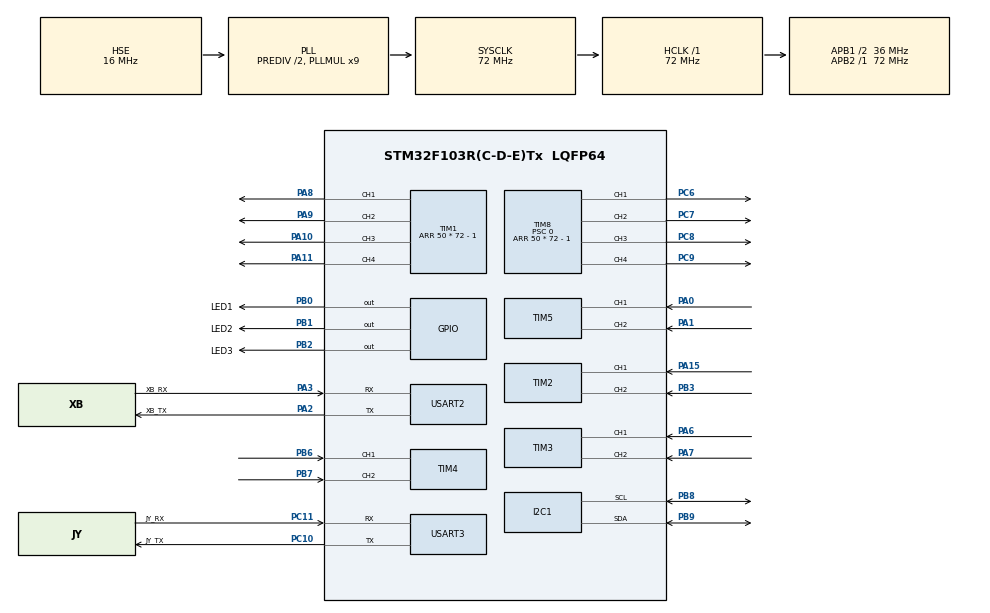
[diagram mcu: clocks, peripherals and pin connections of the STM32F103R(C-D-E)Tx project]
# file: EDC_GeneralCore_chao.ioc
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Dma.Request0=USART2_RX
Dma.Request1=USART3_RX
Dma.USART2_RX.0.Direction=DMA_PERIPH_TO_MEMORY
Dma.USART2_RX.0.Instance=DMA1_Channel6
Dma.USART2_RX.0.MemDataAlignment=DMA_MDATAALIGN_BYTE
Dma.USART2_RX.0.MemInc=DMA_MINC_ENABLE
Dma.USART2_RX.0.Mode=DMA_NORMAL
Dma.USART2_RX.0.PeriphDataAlignment=DMA_PDATAALIGN_BYTE
Dma.USART2_RX.0.PeriphInc=DMA_PINC_DISABLE
Dma.USART2_RX.0.Priority=DMA_PRIORITY_LOW
Dma.USART3_RX.1.Direction=DMA_PERIPH_TO_MEMORY
Dma.USART3_RX.1.Instance=DMA1_Channel3
Dma.USART3_RX.1.MemDataAlignment=DMA_MDATAALIGN_BYTE
Dma.USART3_RX.1.MemInc=DMA_MINC_ENABLE
Dma.USART3_RX.1.Mode=DMA_NORMAL
Dma.USART3_RX.1.PeriphDataAlignment=DMA_PDATAALIGN_BYTE
Dma.USART3_RX.1.PeriphInc=DMA_PINC_DISABLE
Dma.USART3_RX.1.Priority=DMA_PRIORITY_LOW
Mcu.Family=STM32F1
Mcu.Name=STM32F103R(C-D-E)Tx
Mcu.Package=LQFP64
NVIC.DMA1_Channel3_IRQn=true\:2\:0\:true\:false\:true\:false\:true\:true
NVIC.DMA1_Channel6_IRQn=true\:2\:0\:true\:false\:true\:false\:true\:true
NVIC.PriorityGroup=NVIC_PRIORITYGROUP_4
NVIC.TIM6_IRQn=true\:1\:0\:true\:false\:true\:true\:true\:true
PA0-WKUP.Signal=S_TIM5_CH1
PA1.Signal=S_TIM5_CH2
PA10.Signal=S_TIM1_CH3
PA11.Signal=S_TIM1_CH4
PA13.Mode=Serial_Wire
PA13.Signal=SYS_JTMS-SWDIO
PA14.Mode=Serial_Wire
PA14.Signal=SYS_JTCK-SWCLK
PA15.Signal=S_TIM2_CH1_ETR
PA2.GPIO_Label=XB_TX
PA2.Mode=Asynchronous
PA2.Signal=USART2_TX
PA3.GPIO_Label=XB_RX
PA3.Mode=Asynchronous
PA3.Signal=USART2_RX
PA6.Signal=S_TIM3_CH1
PA7.Signal=S_TIM3_CH2
PA8.Signal=S_TIM1_CH1
PA9.Signal=S_TIM1_CH2
PB0.GPIO_Label=LED1
PB0.Signal=GPIO_Output
PB1.GPIO_Label=LED2
PB1.Signal=GPIO_Output
PB2.GPIO_Label=LED3
PB2.Signal=GPIO_Output
PB3.Signal=S_TIM2_CH2
PB6.Signal=S_TIM4_CH1
PB7.Signal=S_TIM4_CH2
PB8.Mode=I2C
PB8.Signal=I2C1_SCL
PB9.Mode=I2C
PB9.Signal=I2C1_SDA
PC10.GPIO_Label=JY_TX
PC10.Mode=Asynchronous
PC10.Signal=USART3_TX
PC11.GPIO_Label=JY_RX
PC11.Mode=Asynchronous
PC11.Signal=USART3_RX
PC6.Signal=S_TIM8_CH1
PC7.Signal=S_TIM8_CH2
PC8.Signal=S_TIM8_CH3
PC9.Signal=S_TIM8_CH4
PD0-OSC_IN.Mode=HSE-External-Oscillator
PD0-OSC_IN.Signal=RCC_OSC_IN
PD1-OSC_OUT.Mode=HSE-External-Oscillator
PD1-OSC_OUT.Signal=RCC_OSC_OUT
ProjectManager.HeapSize=0x200
ProjectManager.StackSize=0x400
ProjectManager.TargetToolchain=STM32CubeIDE
RCC.AHBFreq_Value=72000000
RCC.APB1CLKDivider=RCC_HCLK_DIV2
RCC.APB1Freq_Value=36000000
RCC.APB1TimFreq_Value=72000000
RCC.APB2Freq_Value=72000000
RCC.APB2TimFreq_Value=72000000
RCC.HCLKFreq_Value=72000000
RCC.HSEDivPLL=RCC_HSE_PREDIV_DIV2
RCC.HSE_VALUE=16000000
RCC.PLLMUL=RCC_PLL_MUL9
RCC.PLLSourceVirtual=RCC_PLLSOURCE_HSE
RCC.SYSCLKFreq_VALUE=72000000
RCC.SYSCLKSource=RCC_SYSCLKSOURCE_PLLCLK
RCC.USBFreq_Value=72000000
SH.S_TIM1_CH1.0=TIM1_CH1,PWM Generation1 CH1
SH.S_TIM1_CH2.0=TIM1_CH2,PWM Generation2 CH2
SH.S_TIM1_CH3.0=TIM1_CH3,PWM Generation3 CH3
SH.S_TIM1_CH4.0=TIM1_CH4,PWM Generation4 CH4
SH.S_TIM2_CH1_ETR.0=TIM2_CH1,Encoder_Interface
SH.S_TIM2_CH2.0=TIM2_CH2,Encoder_Interface
SH.S_TIM3_CH1.0=TIM3_CH1,Encoder_Interface
SH.S_TIM3_CH2.0=TIM3_CH2,Encoder_Interface
SH.S_TIM4_CH1.0=TIM4_CH1,Encoder_Interface
SH.S_TIM4_CH2.0=TIM4_CH2,Encoder_Interface
SH.S_TIM5_CH1.0=TIM5_CH1,Encoder_Interface
SH.S_TIM5_CH2.0=TIM5_CH2,Encoder_Interface
SH.S_TIM8_CH1.0=TIM8_CH1,PWM Generation1 CH1
SH.S_TIM8_CH2.0=TIM8_CH2,PWM Generation2 CH2
SH.S_TIM8_CH3.0=TIM8_CH3,PWM Generation3 CH3
SH.S_TIM8_CH4.0=TIM8_CH4,PWM Generation4 CH4
TIM1.Channel-PWM\ Generation1\ CH1=TIM_CHANNEL_1
TIM1.Channel-PWM\ Generation2\ CH2=TIM_CHANNEL_2
TIM1.Channel-PWM\ Generation3\ CH3=TIM_CHANNEL_3
TIM1.Channel-PWM\ Generation4\ CH4=TIM_CHANNEL_4
TIM1.Period=50 * 72 - 1
TIM2.EncoderMode=TIM_ENCODERMODE_TI12
TIM2.IC1Polarity=TIM_ICPOLARITY_RISING
TIM2.IC2Polarity=TIM_ICPOLARITY_FALLING
TIM3.EncoderMode=TIM_ENCODERMODE_TI12
TIM3.IC2Polarity=TIM_ICPOLARITY_FALLING
TIM4.EncoderMode=TIM_ENCODERMODE_TI12
TIM4.IC1Polarity=TIM_ICPOLARITY_RISING
TIM4.IC2Polarity=TIM_ICPOLARITY_RISING
TIM5.EncoderMode=TIM_ENCODERMODE_TI12
TIM5.IC1Polarity=TIM_ICPOLARITY_RISING
TIM5.IC2Polarity=TIM_ICPOLARITY_RISING
TIM6.Period=50000 - 1
TIM6.Prescaler=72 - 1
TIM8.Channel-PWM\ Generation1\ CH1=TIM_CHANNEL_1
TIM8.Channel-PWM\ Generation2\ CH2=TIM_CHANNEL_2
TIM8.Channel-PWM\ Generation3\ CH3=TIM_CHANNEL_3
TIM8.Channel-PWM\ Generation4\ CH4=TIM_CHANNEL_4
TIM8.Period=50 * 72 - 1
TIM8.Prescaler=0
USART2.VirtualMode=VM_ASYNC
USART3.VirtualMode=VM_ASYNC
VP_TIM1_VS_ClockSourceINT.Mode=Internal
VP_TIM6_VS_ClockSourceINT.Mode=Enable_Timer
VP_TIM8_VS_ClockSourceINT.Mode=Internal
board=custom

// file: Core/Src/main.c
/* USER CODE BEGIN Header */
/**
 ******************************************************************************
 * @file           : main.c
 * @brief          : Main program body
 ******************************************************************************
 * @attention
 *
 * Copyright (c) 2022 STMicroelectronics.
 * All rights reserved.
 *
 * This software is licensed under terms that can be found in the LICENSE file
 * in the root directory of this software component.
 * If no LICENSE file comes with this software, it is provided AS-IS.
 *
 ******************************************************************************
 */
/* USER CODE END Header */
#include "main.h"

/* USER CODE BEGIN Includes */
#include "collab_util.h"
/* USER CODE END Includes */

/* USER CODE BEGIN PM */

#define LED1_ON	HAL_GPIO_WritePin(LED1_GPIO_Port, LED1_Pin, 1)
#define LED1_OFF	HAL_GPIO_WritePin(LED1_GPIO_Port, LED1_Pin, 0)
#define LED1_TOGGLE	HAL_GPIO_TogglePin(LED1_GPIO_Port, LED1_Pin)
#define LED2_ON	HAL_GPIO_WritePin(LED2_GPIO_Port, LED2_Pin, 1)
#define LED2_OFF	HAL_GPIO_WritePin(LED2_GPIO_Port, LED2_Pin, 0)
#define LED2_TOGGLE	HAL_GPIO_TogglePin(LED2_GPIO_Port, LED2_Pin)
#define LED3_ON 	HAL_GPIO_WritePin(LED3_GPIO_Port, LED3_Pin, 1)
#define LED3_OFF	HAL_GPIO_WritePin(LED3_GPIO_Port, LED3_Pin, 0)
#define LED3_TOGGLE	HAL_GPIO_TogglePin(LED3_GPIO_Port, LED3_Pin)

#define LED1_BLINK(n) for(uint8_t i = 0; i < n; i++){LED1_ON; HAL_Delay(150); LED1_OFF; HAL_Delay(150);}

/* USER CODE END PM */

I2C_HandleTypeDef hi2c1;

TIM_HandleTypeDef htim1;
TIM_HandleTypeDef htim2;
TIM_HandleTypeDef htim3;
TIM_HandleTypeDef htim4;
TIM_HandleTypeDef htim5;
TIM_HandleTypeDef htim6;
TIM_HandleTypeDef htim8;

UART_HandleTypeDef huart2;
UART_HandleTypeDef huart3;
DMA_HandleTypeDef hdma_usart2_rx;
DMA_HandleTypeDef hdma_usart3_rx;

/* USER CODE BEGIN PV */

// instances
Motor_HandleTypeDef cmotor_lf, cmotor_rf, cmotor_lb, cmotor_rb;
JY62_HandleTypeDef himu;
XB_HandleTypeDef hxb;

// game information 1
uint8_t gameStage;		// 0: pre-match(standby); 1: first half; 2: second half
uint8_t gameStatus;			// 0: standby; 1: running
uint32_t gameStageTimeLimit;		// in ms
uint32_t gameStageTimeSinceStart;	// in ms
Rectangle obstacles[5];			// area that depletes charge faster
Coordinate allyBeacons[3];		// ally charging station coordinate
Coordinate oppoBeacons[3];		// opponent charging station coordinate

// game information 2
Order *delivering[5];		// package picked up but not yet delivered

// game information 3
Coordinate myCoord;			// precise coordinate returned by game master
fCoordinate estimatedCoord;	// coordinate calculated by Kalman Filter
double angleZ, omegaZ, accelY;		// turning speed and linear acceleration
float myScore;				// current score returned by Master
float myCharge;				// current charge returned by Master

// interchange information 1
uint32_t gameStageTimeLeft;		// in ms

/* USER CODE END PV */

void SystemClock_Config(void);
static void MX_GPIO_Init(void);
static void MX_DMA_Init(void);
static void MX_I2C1_Init(void);
static void MX_TIM1_Init(void);
static void MX_TIM2_Init(void);
static void MX_TIM3_Init(void);
static void MX_TIM4_Init(void);
static void MX_TIM5_Init(void);
static void MX_TIM8_Init(void);
static void MX_USART2_UART_Init(void);
static void MX_USART3_UART_Init(void);
static void MX_TIM6_Init(void);
/* USER CODE BEGIN PFP */
static void HUAN_MOTOR1_Init(void);
static void HUAN_MOTOR2_Init(void);
static void HUAN_MOTOR3_Init(void);
static void HUAN_MOTOR4_Init(void);
static void HUAN_IMU_Init(void);
static void HUAN_ZIGBEE_Init(void);

/* USER CODE END PFP */

int main(void)
{

  /* MCU Configuration--------------------------------------------------------*/

  /* Reset of all peripherals, Initializes the Flash interface and the Systick. */
  HAL_Init();

  /* Configure the system clock */
  SystemClock_Config();

  /* Initialize all configured peripherals */
  MX_GPIO_Init();
  MX_DMA_Init();
  MX_I2C1_Init();
  MX_TIM1_Init();
  MX_TIM2_Init();
  MX_TIM3_Init();
  MX_TIM4_Init();
  MX_TIM5_Init();
  MX_TIM8_Init();
  MX_USART2_UART_Init();
  MX_USART3_UART_Init();
  MX_TIM6_Init();
  /* USER CODE BEGIN 2 */
  //Motor init
	HUAN_MOTOR1_Init();
	HUAN_MOTOR2_Init();
	HUAN_MOTOR3_Init();
	HUAN_MOTOR4_Init();
	HUAN_IMU_Init();
	HUAN_ZIGBEE_Init();

	// tick per motor rev = 1080 (measured)
	// tick per rotor rev = 54 (calculated)
	// reduction ratio = 20 (given)

	//Set PID timer
	HAL_TIM_Base_Start_IT(&htim6);
  /* USER CODE END 2 */

  /* Infinite loop */
  /* USER CODE BEGIN WHILE */
	while (1) {
		HAL_Delay(2000);
		chao_move_angle(0, 4000);

		HAL_Delay(2000);
		chao_move_angle(90, 4000);

		HAL_Delay(2000);
		chao_move_angle(180, 4000);

		HAL_Delay(2000);
		chao_move_angle(270, 4000);
    /* USER CODE END WHILE */

	}
}

void SystemClock_Config(void)
{
  RCC_OscInitTypeDef RCC_OscInitStruct = {0};
  RCC_ClkInitTypeDef RCC_ClkInitStruct = {0};

  /** Initializes the RCC Oscillators according to the specified parameters
  * in the RCC_OscInitTypeDef structure.
  */
  RCC_OscInitStruct.OscillatorType = RCC_OSCILLATORTYPE_HSE;
  RCC_OscInitStruct.HSEState = RCC_HSE_ON;
  RCC_OscInitStruct.HSEPredivValue = RCC_HSE_PREDIV_DIV2;
  RCC_OscInitStruct.HSIState = RCC_HSI_ON;
  RCC_OscInitStruct.PLL.PLLState = RCC_PLL_ON;
  RCC_OscInitStruct.PLL.PLLSource = RCC_PLLSOURCE_HSE;
  RCC_OscInitStruct.PLL.PLLMUL = RCC_PLL_MUL9;
  if (HAL_RCC_OscConfig(&RCC_OscInitStruct) != HAL_OK)
  {
    Error_Handler();
  }

  /** Initializes the CPU, AHB and APB buses clocks
  */
  RCC_ClkInitStruct.ClockType = RCC_CLOCKTYPE_HCLK|RCC_CLOCKTYPE_SYSCLK
                              |RCC_CLOCKTYPE_PCLK1|RCC_CLOCKTYPE_PCLK2;
  RCC_ClkInitStruct.SYSCLKSource = RCC_SYSCLKSOURCE_PLLCLK;
  RCC_ClkInitStruct.AHBCLKDivider = RCC_SYSCLK_DIV1;
  RCC_ClkInitStruct.APB1CLKDivider = RCC_HCLK_DIV2;
  RCC_ClkInitStruct.APB2CLKDivider = RCC_HCLK_DIV1;

  if (HAL_RCC_ClockConfig(&RCC_ClkInitStruct, FLASH_LATENCY_2) != HAL_OK)
  {
    Error_Handler();
  }
}

static void MX_I2C1_Init(void)
{

  hi2c1.Instance = I2C1;
  hi2c1.Init.ClockSpeed = 100000;
  hi2c1.Init.DutyCycle = I2C_DUTYCYCLE_2;
  hi2c1.Init.OwnAddress1 = 0;
  hi2c1.Init.AddressingMode = I2C_ADDRESSINGMODE_7BIT;
  hi2c1.Init.DualAddressMode = I2C_DUALADDRESS_DISABLE;
  hi2c1.Init.OwnAddress2 = 0;
  hi2c1.Init.GeneralCallMode = I2C_GENERALCALL_DISABLE;
  hi2c1.Init.NoStretchMode = I2C_NOSTRETCH_DISABLE;
  if (HAL_I2C_Init(&hi2c1) != HAL_OK)
  {
    Error_Handler();
  }

}

static void MX_TIM1_Init(void)
{

  TIM_ClockConfigTypeDef sClockSourceConfig = {0};
  TIM_MasterConfigTypeDef sMasterConfig = {0};
  TIM_OC_InitTypeDef sConfigOC = {0};
  TIM_BreakDeadTimeConfigTypeDef sBreakDeadTimeConfig = {0};

  htim1.Instance = TIM1;
  htim1.Init.Prescaler = 0;
  htim1.Init.CounterMode = TIM_COUNTERMODE_UP;
  htim1.Init.Period = 50 * 72 - 1;
  htim1.Init.ClockDivision = TIM_CLOCKDIVISION_DIV1;
  htim1.Init.RepetitionCounter = 0;
  htim1.Init.AutoReloadPreload = TIM_AUTORELOAD_PRELOAD_DISABLE;
  if (HAL_TIM_Base_Init(&htim1) != HAL_OK)
  {
    Error_Handler();
  }
  sClockSourceConfig.ClockSource = TIM_CLOCKSOURCE_INTERNAL;
  if (HAL_TIM_ConfigClockSource(&htim1, &sClockSourceConfig) != HAL_OK)
  {
    Error_Handler();
  }
  if (HAL_TIM_PWM_Init(&htim1) != HAL_OK)
  {
    Error_Handler();
  }
  sMasterConfig.MasterOutputTrigger = TIM_TRGO_RESET;
  sMasterConfig.MasterSlaveMode = TIM_MASTERSLAVEMODE_DISABLE;
  if (HAL_TIMEx_MasterConfigSynchronization(&htim1, &sMasterConfig) != HAL_OK)
  {
    Error_Handler();
  }
  sConfigOC.OCMode = TIM_OCMODE_PWM1;
  sConfigOC.Pulse = 0;
  sConfigOC.OCPolarity = TIM_OCPOLARITY_HIGH;
  sConfigOC.OCNPolarity = TIM_OCNPOLARITY_HIGH;
  sConfigOC.OCFastMode = TIM_OCFAST_DISABLE;
  sConfigOC.OCIdleState = TIM_OCIDLESTATE_RESET;
  sConfigOC.OCNIdleState = TIM_OCNIDLESTATE_RESET;
  if (HAL_TIM_PWM_ConfigChannel(&htim1, &sConfigOC, TIM_CHANNEL_1) != HAL_OK)
  {
    Error_Handler();
  }
  if (HAL_TIM_PWM_ConfigChannel(&htim1, &sConfigOC, TIM_CHANNEL_2) != HAL_OK)
  {
    Error_Handler();
  }
  if (HAL_TIM_PWM_ConfigChannel(&htim1, &sConfigOC, TIM_CHANNEL_3) != HAL_OK)
  {
    Error_Handler();
  }
  if (HAL_TIM_PWM_ConfigChannel(&htim1, &sConfigOC, TIM_CHANNEL_4) != HAL_OK)
  {
    Error_Handler();
  }
  sBreakDeadTimeConfig.OffStateRunMode = TIM_OSSR_DISABLE;
  sBreakDeadTimeConfig.OffStateIDLEMode = TIM_OSSI_DISABLE;
  sBreakDeadTimeConfig.LockLevel = TIM_LOCKLEVEL_OFF;
  sBreakDeadTimeConfig.DeadTime = 0;
  sBreakDeadTimeConfig.BreakState = TIM_BREAK_DISABLE;
  sBreakDeadTimeConfig.BreakPolarity = TIM_BREAKPOLARITY_HIGH;
  sBreakDeadTimeConfig.AutomaticOutput = TIM_AUTOMATICOUTPUT_DISABLE;
  if (HAL_TIMEx_ConfigBreakDeadTime(&htim1, &sBreakDeadTimeConfig) != HAL_OK)
  {
    Error_Handler();
  }
  HAL_TIM_MspPostInit(&htim1);

}

static void MX_TIM2_Init(void)
{

  TIM_Encoder_InitTypeDef sConfig = {0};
  TIM_MasterConfigTypeDef sMasterConfig = {0};

  htim2.Instance = TIM2;
  htim2.Init.Prescaler = 0;
  htim2.Init.CounterMode = TIM_COUNTERMODE_UP;
  htim2.Init.Period = 65535;
  htim2.Init.ClockDivision = TIM_CLOCKDIVISION_DIV1;
  htim2.Init.AutoReloadPreload = TIM_AUTORELOAD_PRELOAD_DISABLE;
  sConfig.EncoderMode = TIM_ENCODERMODE_TI12;
  sConfig.IC1Polarity = TIM_ICPOLARITY_RISING;
  sConfig.IC1Selection = TIM_ICSELECTION_DIRECTTI;
  sConfig.IC1Prescaler = TIM_ICPSC_DIV1;
  sConfig.IC1Filter = 0;
  sConfig.IC2Polarity = TIM_ICPOLARITY_FALLING;
  sConfig.IC2Selection = TIM_ICSELECTION_DIRECTTI;
  sConfig.IC2Prescaler = TIM_ICPSC_DIV1;
  sConfig.IC2Filter = 0;
  if (HAL_TIM_Encoder_Init(&htim2, &sConfig) != HAL_OK)
  {
    Error_Handler();
  }
  sMasterConfig.MasterOutputTrigger = TIM_TRGO_RESET;
  sMasterConfig.MasterSlaveMode = TIM_MASTERSLAVEMODE_DISABLE;
  if (HAL_TIMEx_MasterConfigSynchronization(&htim2, &sMasterConfig) != HAL_OK)
  {
    Error_Handler();
  }

}

static void MX_TIM3_Init(void)
{

  TIM_Encoder_InitTypeDef sConfig = {0};
  TIM_MasterConfigTypeDef sMasterConfig = {0};

  htim3.Instance = TIM3;
  htim3.Init.Prescaler = 0;
  htim3.Init.CounterMode = TIM_COUNTERMODE_UP;
  htim3.Init.Period = 65535;
  htim3.Init.ClockDivision = TIM_CLOCKDIVISION_DIV1;
  htim3.Init.AutoReloadPreload = TIM_AUTORELOAD_PRELOAD_DISABLE;
  sConfig.EncoderMode = TIM_ENCODERMODE_TI12;
  sConfig.IC1Polarity = TIM_ICPOLARITY_RISING;
  sConfig.IC1Selection = TIM_ICSELECTION_DIRECTTI;
  sConfig.IC1Prescaler = TIM_ICPSC_DIV1;
  sConfig.IC1Filter = 0;
  sConfig.IC2Polarity = TIM_ICPOLARITY_FALLING;
  sConfig.IC2Selection = TIM_ICSELECTION_DIRECTTI;
  sConfig.IC2Prescaler = TIM_ICPSC_DIV1;
  sConfig.IC2Filter = 0;
  if (HAL_TIM_Encoder_Init(&htim3, &sConfig) != HAL_OK)
  {
    Error_Handler();
  }
  sMasterConfig.MasterOutputTrigger = TIM_TRGO_RESET;
  sMasterConfig.MasterSlaveMode = TIM_MASTERSLAVEMODE_DISABLE;
  if (HAL_TIMEx_MasterConfigSynchronization(&htim3, &sMasterConfig) != HAL_OK)
  {
    Error_Handler();
  }

}

static void MX_TIM4_Init(void)
{

  TIM_Encoder_InitTypeDef sConfig = {0};
  TIM_MasterConfigTypeDef sMasterConfig = {0};

  htim4.Instance = TIM4;
  htim4.Init.Prescaler = 0;
  htim4.Init.CounterMode = TIM_COUNTERMODE_UP;
  htim4.Init.Period = 65535;
  htim4.Init.ClockDivision = TIM_CLOCKDIVISION_DIV1;
  htim4.Init.AutoReloadPreload = TIM_AUTORELOAD_PRELOAD_DISABLE;
  sConfig.EncoderMode = TIM_ENCODERMODE_TI12;
  sConfig.IC1Polarity = TIM_ICPOLARITY_RISING;
  sConfig.IC1Selection = TIM_ICSELECTION_DIRECTTI;
  sConfig.IC1Prescaler = TIM_ICPSC_DIV1;
  sConfig.IC1Filter = 0;
  sConfig.IC2Polarity = TIM_ICPOLARITY_RISING;
  sConfig.IC2Selection = TIM_ICSELECTION_DIRECTTI;
  sConfig.IC2Prescaler = TIM_ICPSC_DIV1;
  sConfig.IC2Filter = 0;
  if (HAL_TIM_Encoder_Init(&htim4, &sConfig) != HAL_OK)
  {
    Error_Handler();
  }
  sMasterConfig.MasterOutputTrigger = TIM_TRGO_RESET;
  sMasterConfig.MasterSlaveMode = TIM_MASTERSLAVEMODE_DISABLE;
  if (HAL_TIMEx_MasterConfigSynchronization(&htim4, &sMasterConfig) != HAL_OK)
  {
    Error_Handler();
  }

}

static void MX_TIM5_Init(void)
{

  TIM_Encoder_InitTypeDef sConfig = {0};
  TIM_MasterConfigTypeDef sMasterConfig = {0};

  htim5.Instance = TIM5;
  htim5.Init.Prescaler = 0;
  htim5.Init.CounterMode = TIM_COUNTERMODE_UP;
  htim5.Init.Period = 65535;
  htim5.Init.ClockDivision = TIM_CLOCKDIVISION_DIV1;
  htim5.Init.AutoReloadPreload = TIM_AUTORELOAD_PRELOAD_DISABLE;
  sConfig.EncoderMode = TIM_ENCODERMODE_TI12;
  sConfig.IC1Polarity = TIM_ICPOLARITY_RISING;
  sConfig.IC1Selection = TIM_ICSELECTION_DIRECTTI;
  sConfig.IC1Prescaler = TIM_ICPSC_DIV1;
  sConfig.IC1Filter = 0;
  sConfig.IC2Polarity = TIM_ICPOLARITY_RISING;
  sConfig.IC2Selection = TIM_ICSELECTION_DIRECTTI;
  sConfig.IC2Prescaler = TIM_ICPSC_DIV1;
  sConfig.IC2Filter = 0;
  if (HAL_TIM_Encoder_Init(&htim5, &sConfig) != HAL_OK)
  {
    Error_Handler();
  }
  sMasterConfig.MasterOutputTrigger = TIM_TRGO_RESET;
  sMasterConfig.MasterSlaveMode = TIM_MASTERSLAVEMODE_DISABLE;
  if (HAL_TIMEx_MasterConfigSynchronization(&htim5, &sMasterConfig) != HAL_OK)
  {
    Error_Handler();
  }

}

static void MX_TIM6_Init(void)
{

  TIM_MasterConfigTypeDef sMasterConfig = {0};

  htim6.Instance = TIM6;
  htim6.Init.Prescaler = 72 - 1;
  htim6.Init.CounterMode = TIM_COUNTERMODE_UP;
  htim6.Init.Period = 50000;
  htim6.Init.AutoReloadPreload = TIM_AUTORELOAD_PRELOAD_DISABLE;
  if (HAL_TIM_Base_Init(&htim6) != HAL_OK)
  {
    Error_Handler();
  }
  sMasterConfig.MasterOutputTrigger = TIM_TRGO_RESET;
  sMasterConfig.MasterSlaveMode = TIM_MASTERSLAVEMODE_DISABLE;
  if (HAL_TIMEx_MasterConfigSynchronization(&htim6, &sMasterConfig) != HAL_OK)
  {
    Error_Handler();
  }

}

static void MX_TIM8_Init(void)
{

  TIM_ClockConfigTypeDef sClockSourceConfig = {0};
  TIM_MasterConfigTypeDef sMasterConfig = {0};
  TIM_OC_InitTypeDef sConfigOC = {0};
  TIM_BreakDeadTimeConfigTypeDef sBreakDeadTimeConfig = {0};

  htim8.Instance = TIM8;
  htim8.Init.Prescaler = 0;
  htim8.Init.CounterMode = TIM_COUNTERMODE_UP;
  htim8.Init.Period = 50 * 72 - 1;
  htim8.Init.ClockDivision = TIM_CLOCKDIVISION_DIV1;
  htim8.Init.RepetitionCounter = 0;
  htim8.Init.AutoReloadPreload = TIM_AUTORELOAD_PRELOAD_DISABLE;
  if (HAL_TIM_Base_Init(&htim8) != HAL_OK)
  {
    Error_Handler();
  }
  sClockSourceConfig.ClockSource = TIM_CLOCKSOURCE_INTERNAL;
  if (HAL_TIM_ConfigClockSource(&htim8, &sClockSourceConfig) != HAL_OK)
  {
    Error_Handler();
  }
  if (HAL_TIM_PWM_Init(&htim8) != HAL_OK)
  {
    Error_Handler();
  }
  sMasterConfig.MasterOutputTrigger = TIM_TRGO_RESET;
  sMasterConfig.MasterSlaveMode = TIM_MASTERSLAVEMODE_DISABLE;
  if (HAL_TIMEx_MasterConfigSynchronization(&htim8, &sMasterConfig) != HAL_OK)
  {
    Error_Handler();
  }
  sConfigOC.OCMode = TIM_OCMODE_PWM1;
  sConfigOC.Pulse = 0;
  sConfigOC.OCPolarity = TIM_OCPOLARITY_HIGH;
  sConfigOC.OCNPolarity = TIM_OCNPOLARITY_HIGH;
  sConfigOC.OCFastMode = TIM_OCFAST_DISABLE;
  sConfigOC.OCIdleState = TIM_OCIDLESTATE_RESET;
  sConfigOC.OCNIdleState = TIM_OCNIDLESTATE_RESET;
  if (HAL_TIM_PWM_ConfigChannel(&htim8, &sConfigOC, TIM_CHANNEL_1) != HAL_OK)
  {
    Error_Handler();
  }
  if (HAL_TIM_PWM_ConfigChannel(&htim8, &sConfigOC, TIM_CHANNEL_2) != HAL_OK)
  {
    Error_Handler();
  }
  if (HAL_TIM_PWM_ConfigChannel(&htim8, &sConfigOC, TIM_CHANNEL_3) != HAL_OK)
  {
    Error_Handler();
  }
  if (HAL_TIM_PWM_ConfigChannel(&htim8, &sConfigOC, TIM_CHANNEL_4) != HAL_OK)
  {
    Error_Handler();
  }
  sBreakDeadTimeConfig.OffStateRunMode = TIM_OSSR_DISABLE;
  sBreakDeadTimeConfig.OffStateIDLEMode = TIM_OSSI_DISABLE;
  sBreakDeadTimeConfig.LockLevel = TIM_LOCKLEVEL_OFF;
  sBreakDeadTimeConfig.DeadTime = 0;
  sBreakDeadTimeConfig.BreakState = TIM_BREAK_DISABLE;
  sBreakDeadTimeConfig.BreakPolarity = TIM_BREAKPOLARITY_HIGH;
  sBreakDeadTimeConfig.AutomaticOutput = TIM_AUTOMATICOUTPUT_DISABLE;
  if (HAL_TIMEx_ConfigBreakDeadTime(&htim8, &sBreakDeadTimeConfig) != HAL_OK)
  {
    Error_Handler();
  }
  HAL_TIM_MspPostInit(&htim8);

}

static void MX_USART2_UART_Init(void)
{

  huart2.Instance = USART2;
  huart2.Init.BaudRate = 115200;
  huart2.Init.WordLength = UART_WORDLENGTH_8B;
  huart2.Init.StopBits = UART_STOPBITS_1;
  huart2.Init.Parity = UART_PARITY_NONE;
  huart2.Init.Mode = UART_MODE_TX_RX;
  huart2.Init.HwFlowCtl = UART_HWCONTROL_NONE;
  huart2.Init.OverSampling = UART_OVERSAMPLING_16;
  if (HAL_UART_Init(&huart2) != HAL_OK)
  {
    Error_Handler();
  }

}

static void MX_USART3_UART_Init(void)
{

  huart3.Instance = USART3;
  huart3.Init.BaudRate = 115200;
  huart3.Init.WordLength = UART_WORDLENGTH_8B;
  huart3.Init.StopBits = UART_STOPBITS_1;
  huart3.Init.Parity = UART_PARITY_NONE;
  huart3.Init.Mode = UART_MODE_TX_RX;
  huart3.Init.HwFlowCtl = UART_HWCONTROL_NONE;
  huart3.Init.OverSampling = UART_OVERSAMPLING_16;
  if (HAL_UART_Init(&huart3) != HAL_OK)
  {
    Error_Handler();
  }

}

static void MX_DMA_Init(void)
{

  /* DMA controller clock enable */
  __HAL_RCC_DMA1_CLK_ENABLE();

  /* DMA interrupt init */
  /* DMA1_Channel3_IRQn interrupt configuration */
  HAL_NVIC_SetPriority(DMA1_Channel3_IRQn, 2, 0);
  HAL_NVIC_EnableIRQ(DMA1_Channel3_IRQn);
  /* DMA1_Channel6_IRQn interrupt configuration */
  HAL_NVIC_SetPriority(DMA1_Channel6_IRQn, 2, 0);
  HAL_NVIC_EnableIRQ(DMA1_Channel6_IRQn);

}

static void MX_GPIO_Init(void)
{
  GPIO_InitTypeDef GPIO_InitStruct = {0};

  /* GPIO Ports Clock Enable */
  __HAL_RCC_GPIOD_CLK_ENABLE();
  __HAL_RCC_GPIOA_CLK_ENABLE();
  __HAL_RCC_GPIOB_CLK_ENABLE();
  __HAL_RCC_GPIOC_CLK_ENABLE();

  /*Configure GPIO pin Output Level */
  HAL_GPIO_WritePin(GPIOB, LED1_Pin|LED2_Pin|LED3_Pin, GPIO_PIN_RESET);

  /*Configure GPIO pins : LED1_Pin LED2_Pin LED3_Pin */
  GPIO_InitStruct.Pin = LED1_Pin|LED2_Pin|LED3_Pin;
  GPIO_InitStruct.Mode = GPIO_MODE_OUTPUT_PP;
  GPIO_InitStruct.Pull = GPIO_NOPULL;
  GPIO_InitStruct.Speed = GPIO_SPEED_FREQ_LOW;
  HAL_GPIO_Init(GPIOB, &GPIO_InitStruct);

}

/* USER CODE BEGIN 4 */

static void HUAN_MOTOR1_Init(void) {
	cmotor_lf.counter = &htim2;
	cmotor_lf.dt = 0.05;
	cmotor_lf.posTimer = &htim1;
	cmotor_lf.pos_channel = TIM_CHANNEL_4;
	cmotor_lf.negTimer = &htim1;
	cmotor_lf.neg_channel = TIM_CHANNEL_3;
	cmotor_lf.kp = 0.0003;
	cmotor_lf.ki = 0.00002;
	cmotor_lf.kd = 0.00006;
	huansic_motor_init(&cmotor_lf);
}

static void HUAN_MOTOR2_Init(void) {
	cmotor_rf.counter = &htim4;
	cmotor_rf.dt = 0.05;
	cmotor_rf.posTimer = &htim1;
	cmotor_rf.pos_channel = TIM_CHANNEL_1;
	cmotor_rf.negTimer = &htim1;
	cmotor_rf.neg_channel = TIM_CHANNEL_2;
	cmotor_rf.kp = 0.0003;
	cmotor_rf.ki = 0.00002;
	cmotor_rf.kd = 0.00006;
	huansic_motor_init(&cmotor_rf);
}

static void HUAN_MOTOR3_Init(void) {
	cmotor_lb.counter = &htim3;
	cmotor_lb.dt = 0.05;
	cmotor_lb.posTimer = &htim8;
	cmotor_lb.pos_channel = TIM_CHANNEL_4;
	cmotor_lb.negTimer = &htim8;
	cmotor_lb.neg_channel = TIM_CHANNEL_3;
	cmotor_lb.kp = 0.0003;
	cmotor_lb.ki = 0.00002;
	cmotor_lb.kd = 0.00006;
	huansic_motor_init(&cmotor_lb);
}

static void HUAN_MOTOR4_Init(void) {
	cmotor_rb.counter = &htim5;
	cmotor_rb.dt = 0.05;
	cmotor_rb.posTimer = &htim8;
	cmotor_rb.pos_channel = TIM_CHANNEL_1;
	cmotor_rb.negTimer = &htim8;
	cmotor_rb.neg_channel = TIM_CHANNEL_2;
	cmotor_rb.kp = 0.0003;
	cmotor_rb.ki = 0.00002;
	cmotor_rb.kd = 0.00006;
	huansic_motor_init(&cmotor_rb);
}

static void HUAN_IMU_Init(void) {
	himu.uartPort = &huart3;
	huansic_jy62_init(&himu);
}

static void HUAN_ZIGBEE_Init(void) {
	hxb.uartPort = &huart2;
	huansic_xb_init(&hxb);
}

/* USER CODE END 4 */

void Error_Handler(void)
{
	__disable_irq();
	while (1) {
	}
}
